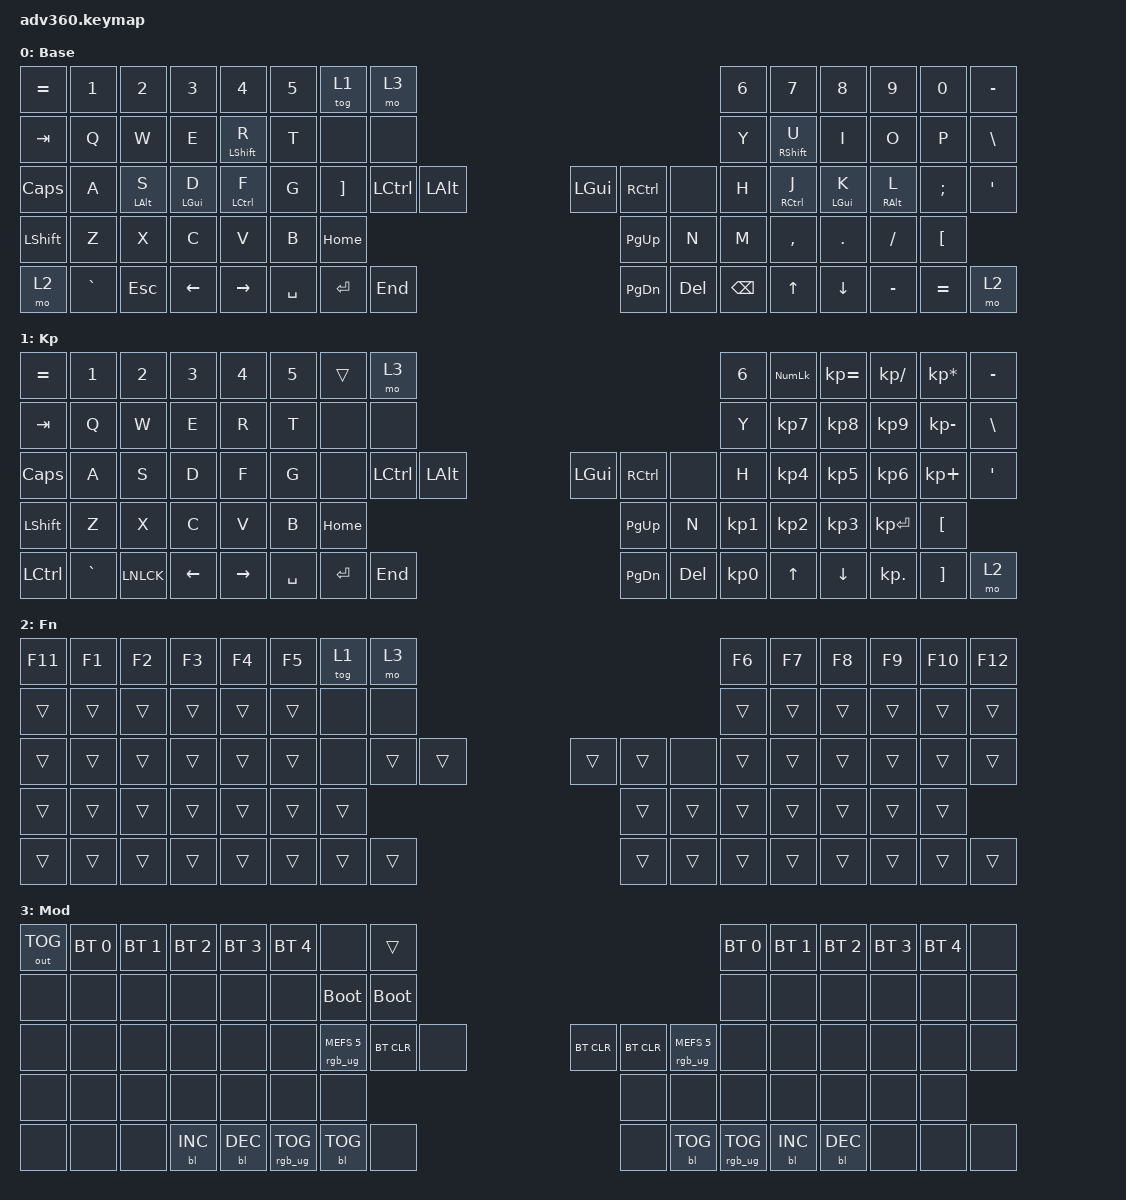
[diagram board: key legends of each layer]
/*
 * Copyright (c) 2020 The ZMK Contributors
 *
 * SPDX-License-Identifier: MIT
 */

/* THIS FILE WAS GENERATED!
 *
 * This file was generated automatically. You may or may not want to
 * edit it directly.
 */

#include <behaviors.dtsi>
#include <dt-bindings/zmk/keys.h>
#include <dt-bindings/zmk/bt.h>
#include <dt-bindings/zmk/rgb.h>
#include <dt-bindings/zmk/stp.h>
#include <dt-bindings/zmk/backlight.h>
#include <dt-bindings/zmk/pointing.h>
#include <dt-bindings/zmk/outputs.h>

/ {
  behaviors {
    #include "macros.dtsi"
    #include "version.dtsi"

    hm: homerow_mods {
        compatible = "zmk,behavior-hold-tap";
        label = "HOMEROW_MODS";
        #binding-cells = <2>;
        tapping-term-ms = <250>;
        quick_tap_ms = <200>;
        flavor = "tap-preferred";
        bindings = <&kp>, <&kp>;
    };
  };

    keymap {
        compatible = "zmk,keymap";

        default_layer {
            display-name = "Base";
            bindings = <
 &kp EQUAL     &kp N1     &kp N2          &kp N3       &kp N4       &kp N5               &tog 1                                                                                           &mo 3             &kp N6    &kp N7           &kp N8        &kp N9          &kp N0     &kp MINUS
 &kp TAB       &kp Q      &kp W           &kp E        &hm LSHFT R  &kp T                &none                                                                                            &none             &kp Y     &hm RSHFT U      &kp I         &kp O           &kp P      &kp BSLH
 &kp CAPS      &kp A      &hm LALT S      &hm LGUI D   &hm LCTRL F  &kp G                &kp RBKT        &kp LCTRL    &kp LALT                                     &kp LGUI   &kp RCTRL      &none             &kp H     &hm RCTRL J      &hm LGUI K    &hm RALT L      &kp SEMI   &kp SQT
 &kp LSHFT     &kp Z      &kp X           &kp C        &kp V        &kp B                                          &kp HOME                               &kp PG_UP                           &kp N     &kp M            &kp COMMA     &kp DOT         &kp FSLH   &kp LBKT
 &mo 2         &kp GRAVE  &kp ESC        &kp LEFT     &kp RIGHT                         &kp SPACE    &kp ENTER    &kp END                                      &kp PG_DN  &kp DELETE     &kp BACKSPACE               &kp UP           &kp DOWN      &kp MINUS       &kp EQUAL  &mo 2
            >;
        };

        layer_keypad {
            display-name = "Kp";
            bindings = <
 &kp EQUAL     &kp N1     &kp N2     &kp N3       &kp N4       &kp N5             &trans       &mo 3                                                                                            &kp N6   &kp KP_NUM  &kp KP_EQUAL       &kp KP_DIVIDE        &kp KP_MULTIPLY      &kp MINUS
 &kp TAB       &kp Q      &kp W      &kp E        &kp R        &kp T              &none        &none                                                                                            &kp Y    &kp KP_N7   &kp KP_N8          &kp KP_N9            &kp KP_MINUS         &kp BSLH
 &kp CAPS      &kp A      &kp S      &kp D        &kp F        &kp G              &none        &kp LCTRL   &kp LALT                                 &kp LGUI        &kp RCTRL       &none       &kp H    &kp KP_N4   &kp KP_N5          &kp KP_N6            &kp KP_PLUS          &kp SQT
 &kp LSHFT     &kp Z      &kp X      &kp C        &kp V        &kp B                            &kp HOME                      &kp PG_UP                          &kp N    &kp KP_N1   &kp KP_N2          &kp KP_N3            &kp KP_ENTER         &kp LBKT
 &kp LCTRL     &kp GRAVE  &kp LNLCK  &kp LEFT     &kp RIGHT    &kp SPACE          &kp ENTER    &kp END  &kp PG_DN                                                   &kp DELETE      &kp KP_N0            &kp UP      &kp DOWN           &kp KP_DOT           &kp RBKT             &mo 2
            >;
        };

        layer_fn {
            display-name = "Fn";
            bindings = <
 &kp F11 &kp F1  &kp F2  &kp F3  &kp F4  &kp F5            &tog 1   &mo 3  &kp F6  &kp F7  &kp F8  &kp F9   &kp F10  &kp F12
 &trans  &trans  &trans  &trans  &trans  &trans             &none   &none  &trans  &trans  &trans   &trans   &trans   &trans
 &trans  &trans  &trans  &trans  &trans  &trans             &none  &trans  &trans                   &trans   &trans    &none  &trans  &trans  &trans  &trans  &trans  &trans
 &trans  &trans  &trans  &trans  &trans  &trans                      &trans           &trans                     &trans  &trans  &trans  &trans  &trans  &trans
 &trans  &trans  &trans  &trans  &trans  &trans            &trans  &trans  &trans  &trans  &trans   &trans   &trans   &trans  &trans  &trans
            >;
        };

        layer_mod {
            display-name = "Mod";
            bindings = <
  &out OUT_TOG  &bt BT_SEL 0  &bt BT_SEL 1  &bt BT_SEL 2  &bt BT_SEL 3     &bt BT_SEL 4                             &none       &trans  &bt BT_SEL 0  &bt BT_SEL 1     &bt BT_SEL 2  &bt BT_SEL 3  &bt BT_SEL 4                   &none
  &none         &none         &none         &none         &none            &none                       &bootloader  &bootloader         &none         &none            &none         &none         &none                   &none
  &none         &none         &none         &none         &none            &none            &rgb_ug RGB_MEFS_CMD 5   &bt BT_CLR         &none                                   &bt BT_CLR    &bt BT_CLR  &rgb_ug RGB_MEFS_CMD 5   &none   &none   &none   &none   &none   &none
  &none         &none         &none         &none         &none            &none                                           &none                       &none         &none         &none         &none         &none         &none         &none
  &none         &none         &none    &bl BL_INC    &bl BL_DEC  &rgb_ug RGB_TOG                        &bl BL_TOG        &none         &none    &bl BL_TOG  &rgb_ug RGB_TOG    &bl BL_INC    &bl BL_DEC                   &none   &none   &none
            >;
        };

        extra1 {
            display-name = "Red";
            status = "reserved";
        };

        extra2 {
            display-name = "Purple";
            status = "reserved";
        };

        extra3 {
            display-name = "Cyan";
            status = "reserved";
        };

        extra4 {
            display-name = "Yellow";
            status = "reserved";
        };
    };
};
